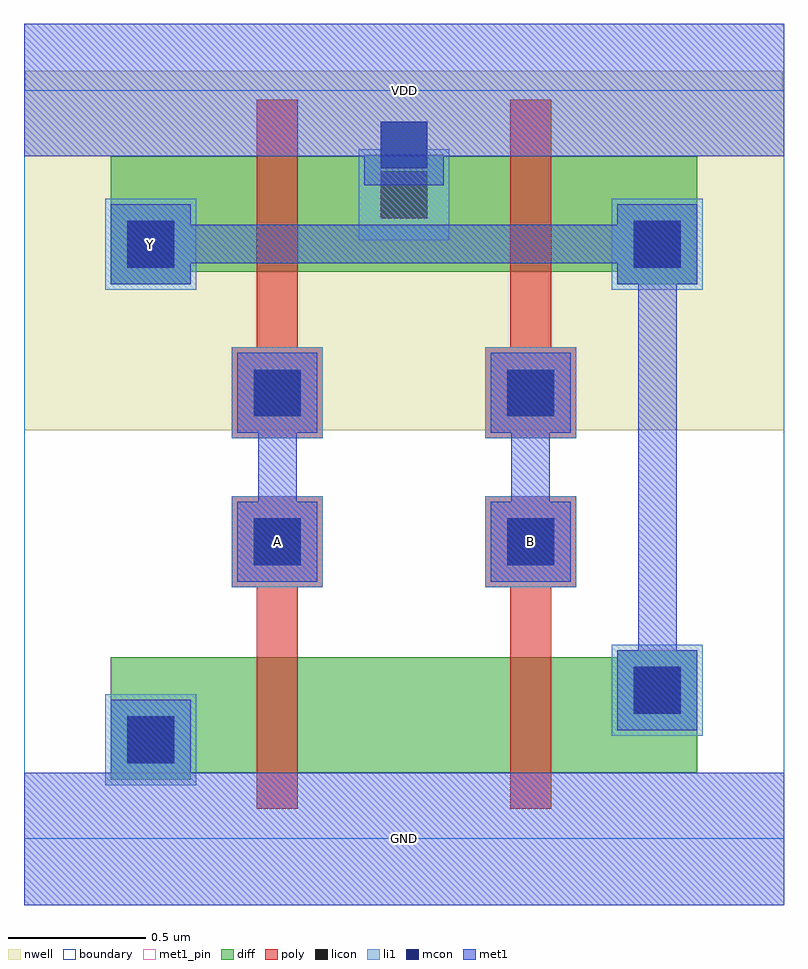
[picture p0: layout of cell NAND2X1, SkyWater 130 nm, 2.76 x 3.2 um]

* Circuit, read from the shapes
.subckt NAND2X1 A B GND VDD Y
XM1 n1 A GND VSUBS sky130_fd_pr__nfet_01v8 w=0.42 l=0.15
XM2 Y B n1 VSUBS sky130_fd_pr__nfet_01v8 w=0.42 l=0.15
XM3 VDD A Y n2 sky130_fd_pr__pfet_01v8 w=0.42 l=0.15
XM4 Y B VDD n2 sky130_fd_pr__pfet_01v8 w=0.42 l=0.15
.ends

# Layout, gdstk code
import gdstk
lib = gdstk.Library(unit=1e-6, precision=1e-09)
def R(c, l, rs):  # rectangles x0, y0, x1, y1
    for r in rs: c.add(gdstk.rectangle(r[:2], r[2:], *l))
def P(c, l, *ps):  # polygons
    for p in ps: c.add(gdstk.Polygon(p, *l))
nwell = (64, 20)
diff = (65, 20)
poly = (66, 20)
licon = (66, 44)
li1 = (67, 20)
mcon = (67, 44)
met1_pin = (68, 16)
met1 = (68, 20)
boundary = (235, 4)

nand2x1 = lib.new_cell('NAND2X1')
P(nand2x1, nwell, [(0,1.485),(0,2.72),(0.005,2.72),(0.005,2.79),(2.755,2.79),(2.755,2.72),(2.76,2.72),(2.76,1.485)])
P(nand2x1, diff, [(0.315,0.215),(0.315,0.66),(2.155,0.66),(2.155,0.685),(2.445,0.685),(2.445,0.24),(0.605,0.24),(0.605,0.215)],
  [(0.315,2.015),(0.315,2.48),(1.235,2.48),(1.235,2.485),(1.525,2.485),(1.525,2.48),(2.445,2.48),(2.445,2.015),(2.155,2.015),(2.155,2.06),(0.605,2.06),(0.605,2.015)])
P(nand2x1, poly, [(0.845,0.11),(0.845,0.915),(0.755,0.915),(0.755,1.245),(1.085,1.245),(1.085,0.915),(0.995,0.915),(0.995,0.11)],
  [(1.765,0.11),(1.765,0.915),(1.675,0.915),(1.675,1.245),(2.005,1.245),(2.005,0.915),(1.915,0.915),(1.915,0.11)],
  [(0.755,1.455),(0.755,1.785),(0.845,1.785),(0.845,2.685),(0.995,2.685),(0.995,1.785),(1.085,1.785),(1.085,1.455)],
  [(1.675,1.455),(1.675,1.785),(1.765,1.785),(1.765,2.685),(1.915,2.685),(1.915,1.785),(2.005,1.785),(2.005,1.455)])
R(nand2x1, licon, [(0.375,0.275,0.545,0.445), (2.215,0.455,2.385,0.625), (0.835,0.995,1.005,1.165), (1.755,0.995,1.925,1.165), (0.835,1.535,1.005,1.705), (1.755,1.535,1.925,1.705), (0.375,2.075,0.545,2.245), (2.215,2.075,2.385,2.245), (1.295,2.255,1.465,2.425)])
R(nand2x1, li1, [(0.295,0.195,0.625,0.525), (2.135,0.375,2.465,0.705), (0.755,0.915,1.085,1.245), (1.675,0.915,2.005,1.245), (0.755,1.455,1.085,1.785), (1.675,1.455,2.005,1.785), (0.295,1.995,0.625,2.325), (2.135,1.995,2.465,2.325)])
P(nand2x1, li1, [(1.215,2.175),(1.215,2.505),(1.295,2.505),(1.295,2.605),(1.465,2.605),(1.465,2.505),(1.545,2.505),(1.545,2.175)])
R(nand2x1, mcon, [(0.375,0.275,0.545,0.445), (2.215,0.455,2.385,0.625), (0.835,0.995,1.005,1.165), (1.755,0.995,1.925,1.165), (0.835,1.535,1.005,1.705), (1.755,1.535,1.925,1.705), (0.375,2.075,0.545,2.245), (2.215,2.075,2.385,2.245), (1.295,2.435,1.465,2.605)])
R(nand2x1, met1_pin, [(0,-0.24,2.76,0.24), (0,2.48,2.76,2.96)])
P(nand2x1, met1_pin, [(2.155,0.395),(2.155,0.685),(2.23,0.685),(2.23,2.015),(2.155,2.015),(2.155,2.09),(0.605,2.09),(0.605,2.015),(0.315,2.015),(0.315,2.305),(0.605,2.305),(0.605,2.23),(2.155,2.23),(2.155,2.305),(2.445,2.305),(2.445,2.015),(2.37,2.015),(2.37,0.685),(2.445,0.685),(2.445,0.395)],
  [(0.775,0.935),(0.775,1.225),(0.85,1.225),(0.85,1.475),(0.775,1.475),(0.775,1.765),(1.065,1.765),(1.065,1.475),(0.99,1.475),(0.99,1.225),(1.065,1.225),(1.065,0.935)],
  [(1.695,0.935),(1.695,1.225),(1.77,1.225),(1.77,1.475),(1.695,1.475),(1.695,1.765),(1.985,1.765),(1.985,1.475),(1.91,1.475),(1.91,1.225),(1.985,1.225),(1.985,0.935)])
P(nand2x1, met1, [(0,-0.24),(0,0.24),(0.315,0.24),(0.315,0.505),(0.605,0.505),(0.605,0.24),(2.76,0.24),(2.76,-0.24)],
  [(0.775,0.935),(0.775,1.225),(0.85,1.225),(0.85,1.475),(0.775,1.475),(0.775,1.765),(1.065,1.765),(1.065,1.475),(0.99,1.475),(0.99,1.225),(1.065,1.225),(1.065,0.935)],
  [(1.695,0.935),(1.695,1.225),(1.77,1.225),(1.77,1.475),(1.695,1.475),(1.695,1.765),(1.985,1.765),(1.985,1.475),(1.91,1.475),(1.91,1.225),(1.985,1.225),(1.985,0.935)],
  [(2.155,0.395),(2.155,0.685),(2.23,0.685),(2.23,2.015),(2.155,2.015),(2.155,2.09),(0.605,2.09),(0.605,2.015),(0.315,2.015),(0.315,2.305),(0.605,2.305),(0.605,2.23),(2.155,2.23),(2.155,2.305),(2.445,2.305),(2.445,2.015),(2.37,2.015),(2.37,0.685),(2.445,0.685),(2.445,0.395)],
  [(1.235,2.375),(1.235,2.48),(0,2.48),(0,2.96),(2.76,2.96),(2.76,2.48),(1.525,2.48),(1.525,2.375)])
R(nand2x1, boundary, [(0,0,2.76,2.72)])
nand2x1.add(gdstk.Label('Y', (0.46,2.16), layer=68, texttype=5))
nand2x1.add(gdstk.Label('A', (0.92,1.08), layer=68, texttype=5))
nand2x1.add(gdstk.Label('B', (1.84,1.08), layer=68, texttype=5))
nand2x1.add(gdstk.Label('GND', (1.38,0), layer=68, texttype=5))
nand2x1.add(gdstk.Label('VDD', (1.38,2.72), layer=68, texttype=5))

lib.write_gds('NAND2X1.gds')
